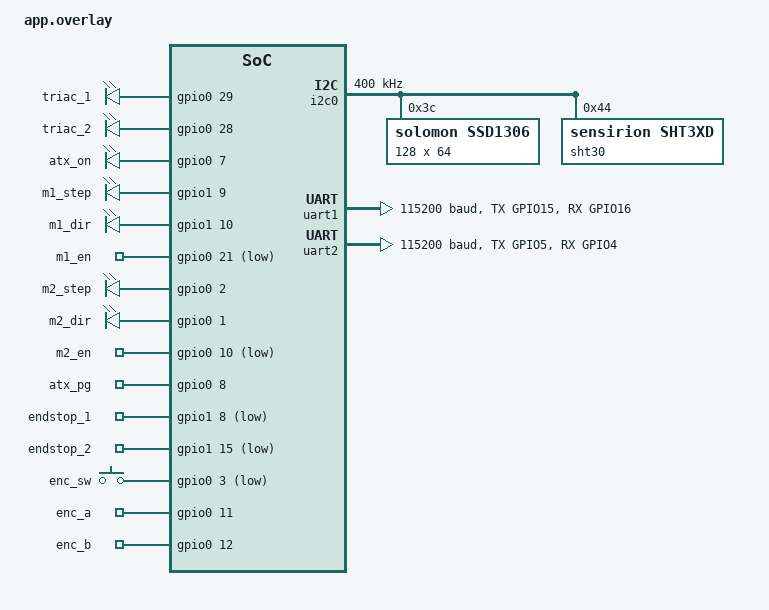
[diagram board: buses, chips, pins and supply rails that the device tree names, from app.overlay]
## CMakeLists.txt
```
cmake_minimum_required(VERSION 3.20.0)
find_package(Zephyr REQUIRED HINTS $ENV{ZEPHYR_BASE})

project(Electrospinning_device)

target_include_directories(app PRIVATE include)

target_sources(app PRIVATE
    src/main.c
    src/core0_comms.c
    src/core1_control.c
    lib/cli_shell/cli_shell.c
    src/display_task.c
)
```

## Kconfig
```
mainmenu "Electrospinning Firmware"

source "Kconfig.zephyr"
```

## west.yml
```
manifest:
  remotes:
    - name: zephyrproject-rtos
      url-base: https://github.com/zephyrproject-rtos
  projects:
    - name: zephyr
      remote: zephyrproject-rtos
      revision: main
      import: true
  self:
    path: Software/Zephyr
```

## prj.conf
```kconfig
# Hardware Drivers and Peripherals
CONFIG_GPIO=y
CONFIG_I2C=y
CONFIG_SENSOR=y
CONFIG_SHT3XD=y
CONFIG_DISPLAY=y
CONFIG_SSD1306=y
CONFIG_SERIAL=y
CONFIG_UART_ASYNC_API=y

# Shell Subsystem
CONFIG_SHELL=y
CONFIG_SHELL_BACKENDS=y
CONFIG_SHELL_BACKEND_SERIAL=y
CONFIG_UART_CONSOLE=y

# Optional: history and autocompletion
CONFIG_SHELL_ARGC_MAX=12
CONFIG_SHELL_CMD_BUFF_SIZE=256

# Character Framebuffer (CFB) Subsystem
CONFIG_CHARACTER_FRAMEBUFFER=y

# System Heap
CONFIG_HEAP_MEM_POOL_SIZE=16384

# Enable floating point formatting for printk and shell
CONFIG_CBPRINTF_FP_SUPPORT=y
```

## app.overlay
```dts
/ {
	chosen {
		zephyr,display = &ssd1306;
	};

	aliases {
		triac1 = &triac_1;
		triac2 = &triac_2;
		atxon = &atx_on;
		atxpg = &atx_pg;
		endstop1 = &endstop_1;
		endstop2 = &endstop_2;
		encsw = &enc_sw;
		enca = &enc_a;
		encb = &enc_b;
		m1-step = &m1_step;
		m1-dir = &m1_dir;
		m1-en = &m1_en;
		m2-step = &m2_step;
		m2-dir = &m2_dir;
		m2-en = &m2_en;
	};

	custom_outputs {
		compatible = "gpio-leds";

		triac_1: triac_1 {
			gpios = <&gpio0 29 GPIO_ACTIVE_HIGH>;
		};
		triac_2: triac_2 {
			gpios = <&gpio0 28 GPIO_ACTIVE_HIGH>;
		};

		atx_on: atx_on {
			gpios = <&gpio0 7 GPIO_ACTIVE_HIGH>;
		};

		m1_step: m1_step {
			gpios = <&gpio1 9 GPIO_ACTIVE_HIGH>;
		};
		m1_dir: m1_dir {
			gpios = <&gpio1 10 GPIO_ACTIVE_HIGH>;
		};
		m1_en: m1_en {
			gpios = <&gpio0 21 GPIO_ACTIVE_LOW>;
		};

		m2_step: m2_step {
			gpios = <&gpio0 2 GPIO_ACTIVE_HIGH>;
		};
		m2_dir: m2_dir {
			gpios = <&gpio0 1 GPIO_ACTIVE_HIGH>;
		};
		m2_en: m2_en {
			gpios = <&gpio0 10 GPIO_ACTIVE_LOW>;
		};
	};

	custom_inputs {
		compatible = "gpio-keys";

		atx_pg: atx_pg {
			gpios = <&gpio0 8 GPIO_ACTIVE_HIGH>;
		};

		endstop_1: endstop_1 {
			gpios = <&gpio1 8 GPIO_ACTIVE_LOW>;
		};
		endstop_2: endstop_2 {
			gpios = <&gpio1 15 GPIO_ACTIVE_LOW>;
		};

		enc_sw: enc_sw {
			gpios = <&gpio0 3 (GPIO_ACTIVE_LOW | GPIO_PULL_UP)>;
		};
		enc_a: enc_a {
			gpios = <&gpio0 11 GPIO_ACTIVE_HIGH>;
		};
		enc_b: enc_b {
			gpios = <&gpio0 12 GPIO_ACTIVE_HIGH>;
		};
	};
};

&pinctrl {
	i2c0_default: i2c0_default {
		group1 {
			pinmux = <I2C0_SDA_GPIO17>, <I2C0_SCL_GPIO18>;
			bias-pull-up;
			drive-open-drain;
			output-high;
		};
	};

	uart1_default: uart1_default {
		group1 {
			pinmux = <UART1_TX_GPIO15>, <UART1_RX_GPIO16>;
		};
	};

	uart2_default: uart2_default {
		group1 {
			pinmux = <UART2_TX_GPIO5>, <UART2_RX_GPIO4>;
		};
	};
};

&i2c0 {
	status = "okay";
	pinctrl-0 = <&i2c0_default>;
	pinctrl-names = "default";
	clock-frequency = <I2C_BITRATE_FAST>;

	ssd1306: ssd1306@3c {
		compatible = "solomon,ssd1306";
		reg = <0x3c>;
		width = <128>;
		height = <64>;
		segment-offset = <0>;
		page-offset = <0>;
		display-offset = <0>;
		multiplex-ratio = <63>;
		segment-remap;
		com-invdir;
		prechargep = <0x22>;
	};

	sht30: sht30@44 {
		compatible = "sensirion,sht3xd";
		reg = <0x44>;
	};
};

&uart1 {
	status = "okay";
	pinctrl-0 = <&uart1_default>;
	pinctrl-names = "default";
	current-speed = <115200>;
};

&uart2 {
	status = "okay";
	pinctrl-0 = <&uart2_default>;
	pinctrl-names = "default";
	current-speed = <115200>;
};
```

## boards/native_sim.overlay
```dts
&i2c0 {
    status = "okay";

    ssd1306: ssd1306@3c {
        compatible = "solomon,ssd1306";
        reg = <0x3c>;
        width = <128>;
        height = <64>;
        segment-offset = <0>;
        page-offset = <0>;
        display-offset = <0>;
        multiplex-ratio = <63>;
        segment-remap;
        com-invdir;
        prechargep = <0x22>;
    };

    sht3xd: sht3xd@44 {
        compatible = "sensirion,sht3xd";
        reg = <0x44>;
    };
};
```

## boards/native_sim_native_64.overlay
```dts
/ {
	chosen {
		zephyr,display = &sdl_display;
	};

	sdl_display: sdl_display {
		compatible = "zephyr,sdl-dc";
		height = <64>;
		width = <128>;
		pixel-format = <4>; /* 4 = PIXEL_FORMAT_MONO10 */
	};
};
```

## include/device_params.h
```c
#ifndef DEVICE_PARAMS_H
#define DEVICE_PARAMS_H

typedef struct {
    float syringe_diameter_mm; // Syringe diameter (mm)
    float flow_rate_ml_h;      // Flow rate (mL/h)
    float target_volume_ml;    // Target volume (mL)
    float current_speed_rpm;   // Current speed (RPM)
    bool is_running;           // Running state
} SyringePump_t;

typedef struct {
    float temperature;         // Temperature (°C)
    float humidity;            // Humidity (%RH)
} SHT30_t;

extern SyringePump_t motor1_pump;
extern SHT30_t sht30_sensor;

#endif
```

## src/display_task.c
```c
#include <zephyr/kernel.h>
#include <zephyr/device.h>
#include <zephyr/drivers/display.h>
#include <zephyr/display/cfb.h>
#include <stdio.h>
#include "device_params.h"

#define DISPLAY_NODE DT_CHOSEN(zephyr_display)

static const struct device *display_dev = DEVICE_DT_GET(DISPLAY_NODE);

void display_thread_entry(void *p1, void *p2, void *p3)
{
    char buf[32];

    if (!device_is_ready(display_dev)) {
        printk("SDL Display device is not ready!\n");
        return;
    }

    /* Enable display */
    display_blanking_off(display_dev);

    if (cfb_framebuffer_init(display_dev)) {
        printk("Failed to initialize CFB!\n");
        return;
    }

    cfb_framebuffer_clear(display_dev, true);
    cfb_framebuffer_set_font(display_dev, 0);

    uint8_t font_width, font_height;
    cfb_get_font_size(display_dev, 0, &font_width, &font_height);

    while (1) {
        cfb_framebuffer_clear(display_dev, false);

        int64_t uptime_sec = k_uptime_get() / 1000;
        uint32_t hours = (uint32_t)(uptime_sec / 3600);
        uint32_t minutes = (uint32_t)((uptime_sec % 3600) / 60);

        snprintf(buf, sizeof(buf), "Uptime: %02uh %02um", hours, minutes);
        cfb_print(display_dev, buf, 0, 0);

        snprintf(buf, sizeof(buf), "Temp: %.1f C", (double)sht30_sensor.temperature);
        cfb_print(display_dev, buf, 0, font_height);

        snprintf(buf, sizeof(buf), "Humi: %.1f %%", (double)sht30_sensor.humidity);
        cfb_print(display_dev, buf, 0, font_height * 2);

        snprintf(buf, sizeof(buf), "Flow: %.1f mL/h", (double)motor1_pump.flow_rate_ml_h);
        cfb_print(display_dev, buf, 0, font_height * 3);

        cfb_framebuffer_finalize(display_dev);

        k_msleep(1000);
    }
}

K_THREAD_DEFINE(display_thread_id, 2048, display_thread_entry, NULL, NULL, NULL, 7, 0, 0);
```
